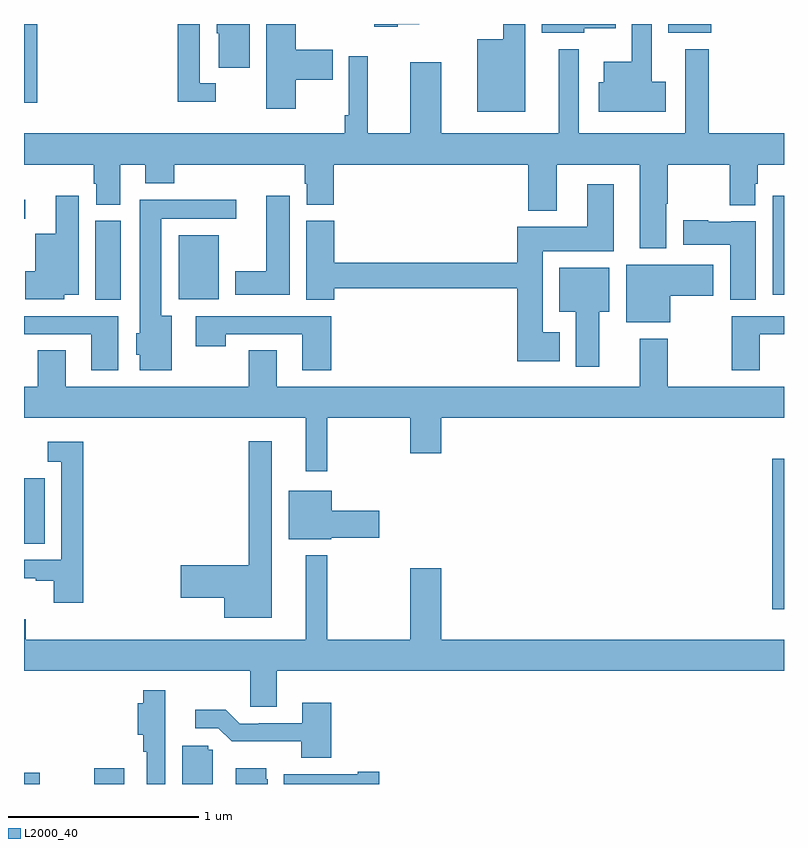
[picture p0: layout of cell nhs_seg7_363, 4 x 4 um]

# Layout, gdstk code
import gdstk
lib = gdstk.Library(unit=1e-6, precision=1e-09)
def R(c, l, rs):  # rectangles x0, y0, x1, y1
    for r in rs: c.add(gdstk.rectangle(r[:2], r[2:], *l))
def P(c, l, *ps):  # polygons
    for p in ps: c.add(gdstk.Polygon(p, *l))
L2000_40 = (2000, 40)

nhs_seg7_363 = lib.new_cell('nhs_seg7_363')
R(nhs_seg7_363, L2000_40, [(139,1020,139.084,1020.06), (139.37,1020,139.528,1020.082), (142.938,1020.921,143,1021.712), (139,1021.264,139.108,1021.608), (139.376,1022.548,139.51,1022.964), (139.814,1022.552,140.026,1022.887), (142.94,1022.576,143,1023.097), (139,1022.976,139.006,1023.074), (139,1023.585,139.069,1024), (142.391,1023.953,142.618,1024)])
P(nhs_seg7_363, L2000_40, [(140.431,1023.707),(140.624,1023.707),(140.624,1023.865),(140.431,1023.865),(140.431,1024),(140.276,1024),(140.276,1023.555),(140.431,1023.555)],
  [(140.966,1023.998),(141.079,1023.998),(141.079,1024),(140.618,1024),(140.618,1023.998),(140.844,1023.998),(140.844,1023.986),(140.966,1023.986)],
  [(140.188,1024),(140.015,1024),(140.015,1023.951),(140.024,1023.951),(140.024,1023.771),(140.188,1023.771)],
  [(140.008,1023.687),(139.926,1023.687),(139.926,1024),(139.81,1024),(139.81,1023.59),(140.008,1023.59)],
  [(141.637,1024),(141.523,1024),(141.523,1023.919),(141.386,1023.919),(141.386,1023.539),(141.637,1023.539)],
  [(142.378,1023.697),(142.303,1023.697),(142.303,1024),(142.199,1024),(142.199,1023.802),(142.052,1023.802),(142.052,1023.693),(142.025,1023.693),(142.025,1023.539),(142.378,1023.539)],
  [(141.948,1023.977),(142.114,1023.977),(142.114,1024),(141.725,1024),(141.725,1023.953),(141.948,1023.953)],
  [(142.381,1023.055),(142.389,1023.055),(142.389,1023.26),(142.714,1023.26),(142.714,1023.047),(142.849,1023.047),(142.849,1023.159),(142.862,1023.159),(142.862,1023.26),(143,1023.26),(143,1023.424),(142.603,1023.424),(142.603,1023.868),(142.481,1023.868),(142.481,1023.424),(141.919,1023.424),(141.919,1023.868),(141.815,1023.868),(141.815,1023.424),(141.196,1023.424),(141.196,1023.799),(141.032,1023.799),(141.032,1023.424),(140.808,1023.424),(140.808,1023.829),(140.709,1023.829),(140.709,1023.52),(140.689,1023.52),(140.689,1023.424),(139,1023.424),(139,1023.26),(139.367,1023.26),(139.367,1023.159),(139.379,1023.159),(139.379,1023.049),(139.507,1023.049),(139.507,1023.26),(139.637,1023.26),(139.637,1023.161),(139.79,1023.161),(139.79,1023.26),(140.477,1023.26),(140.477,1023.159),(140.489,1023.159),(140.489,1023.049),(140.63,1023.049),(140.63,1023.26),(141.653,1023.26),(141.653,1023.017),(141.805,1023.017),(141.805,1023.26),(142.241,1023.26),(142.241,1022.819),(142.381,1022.819)],
  [(141.82,1022.377),(141.73,1022.377),(141.73,1022.804),(142.105,1022.804),(142.105,1023.157),(141.965,1023.157),(141.965,1022.932),(141.596,1022.932),(141.596,1022.744),(140.633,1022.744),(140.633,1022.964),(140.486,1022.964),(140.486,1022.548),(140.633,1022.548),(140.633,1022.608),(141.596,1022.608),(141.596,1022.225),(141.82,1022.225)],
  [(140.398,1023.097),(140.276,1023.097),(140.276,1022.698),(140.111,1022.698),(140.111,1022.576),(140.398,1022.576)],
  [(139.212,1022.576),(139.288,1022.576),(139.288,1023.097),(139.166,1023.097),(139.166,1022.896),(139.058,1022.896),(139.058,1022.698),(139.007,1022.698),(139.007,1022.552),(139.212,1022.552)],
  [(139.777,1022.464),(139.723,1022.464),(139.723,1022.976),(140.116,1022.976),(140.116,1023.074),(139.61,1023.074),(139.61,1022.373),(139.592,1022.373),(139.592,1022.259),(139.61,1022.259),(139.61,1022.178),(139.777,1022.178)],
  [(142.852,1022.962),(142.722,1022.962),(142.722,1022.959),(142.602,1022.959),(142.602,1022.967),(142.47,1022.967),(142.47,1022.837),(142.718,1022.837),(142.718,1022.548),(142.852,1022.548)],
  [(142.402,1022.569),(142.627,1022.569),(142.627,1022.734),(142.169,1022.734),(142.169,1022.429),(142.402,1022.429)],
  [(142.027,1022.486),(142.081,1022.486),(142.081,1022.716),(141.818,1022.716),(141.818,1022.486),(141.905,1022.486),(141.905,1022.196),(142.027,1022.196)],
  [(140.618,1022.463),(139.905,1022.463),(139.905,1022.304),(140.061,1022.304),(140.061,1022.367),(140.465,1022.367),(140.465,1022.178),(140.618,1022.178)],
  [(139.495,1022.463),(139,1022.463),(139,1022.367),(139.355,1022.367),(139.355,1022.178),(139.495,1022.178)],
  [(142.873,1022.367),(143,1022.367),(143,1022.463),(142.726,1022.463),(142.726,1022.178),(142.873,1022.178)],
  [(140.597,1021.928),(141.032,1021.928),(141.032,1021.74),(141.196,1021.74),(141.196,1021.928),(143,1021.928),(143,1022.092),(142.389,1022.092),(142.389,1022.344),(142.241,1022.344),(142.241,1022.092),(140.329,1022.092),(140.329,1022.282),(140.182,1022.282),(140.182,1022.092),(139.219,1022.092),(139.219,1022.282),(139.072,1022.282),(139.072,1022.092),(139,1022.092),(139,1021.928),(140.483,1021.928),(140.483,1021.647),(140.597,1021.647)],
  [(140.305,1021.804),(140.184,1021.804),(140.184,1021.151),(139.824,1021.151),(139.824,1020.98),(140.054,1020.98),(140.054,1020.875),(140.305,1020.875)],
  [(139.313,1021.801),(139.125,1021.801),(139.125,1021.695),(139.197,1021.695),(139.197,1021.179),(139,1021.179),(139,1021.083),(139.061,1021.083),(139.061,1021.071),(139.157,1021.071),(139.157,1020.954),(139.313,1020.954)],
  [(140.616,1021.295),(140.869,1021.295),(140.869,1021.437),(140.62,1021.437),(140.62,1021.543),(140.393,1021.543),(140.393,1021.289),(140.616,1021.289)],
  [(140.329,1020.596),(143,1020.596),(143,1020.76),(141.196,1020.76),(141.196,1021.135),(141.032,1021.135),(141.032,1020.76),(140.597,1020.76),(140.597,1021.204),(140.483,1021.204),(140.483,1020.76),(139.01,1020.76),(139.01,1020.866),(139,1020.866),(139,1020.596),(140.19,1020.596),(140.19,1020.406),(140.329,1020.406)],
  [(139.743,1020.27),(139.744,1020.27),(139.744,1020.493),(139.627,1020.493),(139.627,1020.424),(139.598,1020.424),(139.598,1020.259),(139.627,1020.259),(139.627,1020.17),(139.647,1020.17),(139.647,1020),(139.743,1020)],
  [(140.618,1020.427),(140.465,1020.427),(140.465,1020.321),(140.236,1020.321),(140.236,1020.318),(140.136,1020.318),(140.063,1020.391),(139.902,1020.391),(139.902,1020.294),(140.022,1020.294),(140.093,1020.224),(140.458,1020.224),(140.458,1020.137),(140.618,1020.137)],
  [(139.993,1020.18),(139.971,1020.18),(139.971,1020.201),(139.832,1020.201),(139.832,1020),(139.993,1020)],
  [(140.283,1020.024),(140.275,1020.024),(140.275,1020.082),(140.114,1020.082),(140.114,1020),(140.283,1020)],
  [(140.869,1020.065),(140.756,1020.065),(140.756,1020.052),(140.368,1020.052),(140.368,1020),(140.869,1020)])

lib.write_gds('nhs_seg7_363.gds')
